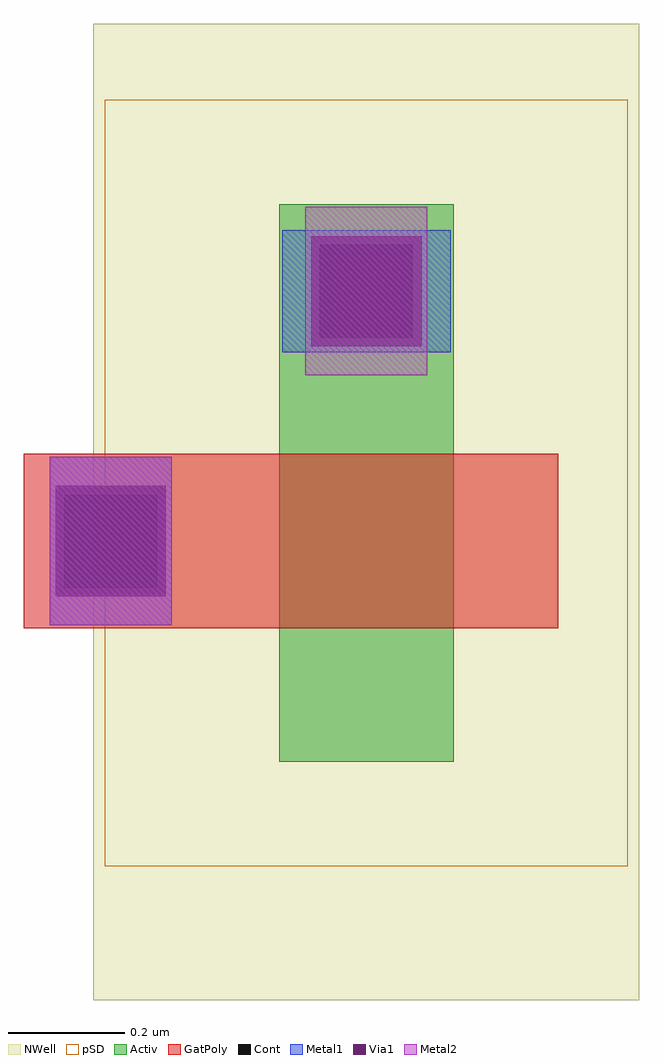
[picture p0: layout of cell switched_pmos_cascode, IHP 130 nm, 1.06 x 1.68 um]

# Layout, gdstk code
import gdstk
lib = gdstk.Library(unit=1e-6, precision=1e-09)
def R(c, l, rs):  # rectangles x0, y0, x1, y1
    for r in rs: c.add(gdstk.rectangle(r[:2], r[2:], *l))
Activ = (1, 0)
GatPoly = (5, 0)
Cont = (6, 0)
Metal1 = (8, 0)
Metal2 = (10, 0)
pSD = (14, 0)
Via1 = (19, 0)
NWell = (31, 0)

switched_pmos_cascode = lib.new_cell('switched_pmos_cascode')
R(switched_pmos_cascode, Activ, [(0.29,-0.38,0.59,0.58)])
R(switched_pmos_cascode, GatPoly, [(-0.15,-0.15,0.77,0.15)])
R(switched_pmos_cascode, Cont, [(-0.08,-0.08,0.08,0.08), (0.36,0.35,0.52,0.51)])
R(switched_pmos_cascode, Metal1, [(-0.105,-0.145,0.105,0.145), (0.295,0.325,0.585,0.535)])
R(switched_pmos_cascode, Metal2, [(-0.105,-0.145,0.105,0.145), (0.335,0.285,0.545,0.575)])
R(switched_pmos_cascode, pSD, [(-0.01,-0.56,0.89,0.76)])
R(switched_pmos_cascode, Via1, [(-0.095,-0.095,0.095,0.095), (0.345,0.335,0.535,0.525)])
R(switched_pmos_cascode, NWell, [(-0.03,-0.79,0.91,0.89)])

lib.write_gds('switched_pmos_cascode.gds')
